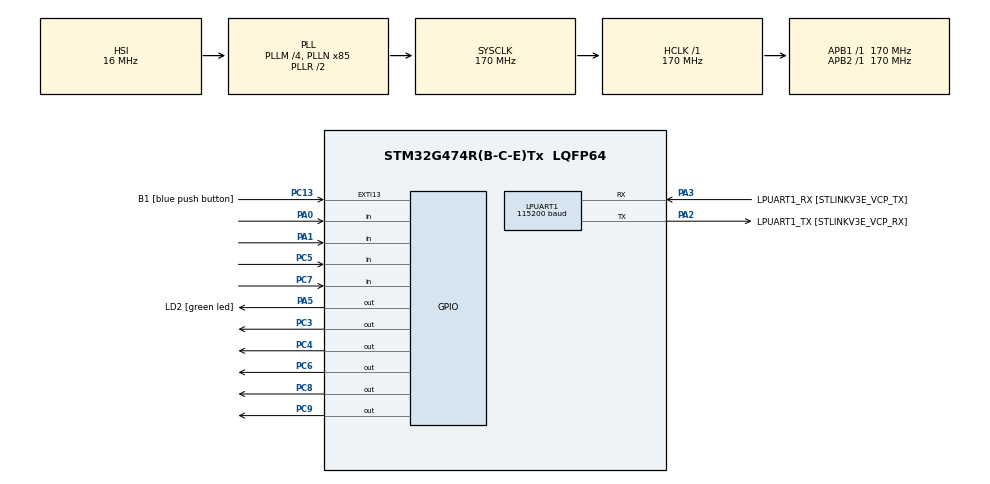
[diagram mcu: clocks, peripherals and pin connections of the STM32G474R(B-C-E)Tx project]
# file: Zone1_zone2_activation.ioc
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LPUART1.BaudRate=115200
LPUART1.WordLength=UART_WORDLENGTH_8B
Mcu.Family=STM32G4
Mcu.Name=STM32G474R(B-C-E)Tx
Mcu.Package=LQFP64
NVIC.EXTI15_10_IRQn=true\:0\:0\:false\:false\:true\:true\:true\:true
NVIC.PriorityGroup=NVIC_PRIORITYGROUP_4
PA0.GPIO_PuPd=GPIO_PULLUP
PA0.Signal=GPIO_Input
PA1.GPIO_PuPd=GPIO_PULLUP
PA1.Signal=GPIO_Input
PA13.GPIO_Label=T_SWDIO
PA13.Mode=Serial_Wire
PA13.Signal=SYS_JTMS-SWDIO
PA14.GPIO_Label=T_SWCLK
PA14.Mode=Serial_Wire
PA14.Signal=SYS_JTCK-SWCLK
PA2.GPIO_Label=LPUART1_TX [STLINKV3E_VCP_RX]
PA2.Mode=Asynchronous
PA2.Signal=LPUART1_TX
PA3.GPIO_Label=LPUART1_RX [STLINKV3E_VCP_TX]
PA3.Mode=Asynchronous
PA3.Signal=LPUART1_RX
PA5.GPIO_Label=LD2 [green led]
PA5.Signal=GPIO_Output
PB3.GPIO_Label=T_SWO
PB3.Signal=SYS_JTDO-SWO
PC13.GPIO_Label=B1 [blue push button]
PC13.Signal=GPXTI13
PC14-OSC32_IN.Mode=LSE-External-Oscillator
PC14-OSC32_IN.Signal=RCC_OSC32_IN
PC15-OSC32_OUT.Mode=LSE-External-Oscillator
PC15-OSC32_OUT.Signal=RCC_OSC32_OUT
PC3.Signal=GPIO_Output
PC4.Signal=GPIO_Output
PC5.GPIO_PuPd=GPIO_PULLDOWN
PC5.Signal=GPIO_Input
PC6.Signal=GPIO_Output
PC7.GPIO_PuPd=GPIO_PULLDOWN
PC7.Signal=GPIO_Input
PC8.Signal=GPIO_Output
PC9.Signal=GPIO_Output
PF0-OSC_IN.Mode=HSE-External-Oscillator
PF0-OSC_IN.Signal=RCC_OSC_IN
PF1-OSC_OUT.Mode=HSE-External-Oscillator
PF1-OSC_OUT.Signal=RCC_OSC_OUT
ProjectManager.HeapSize=0x200
ProjectManager.StackSize=0x400
ProjectManager.TargetToolchain=STM32CubeIDE
RCC.ADC12Freq_Value=170000000
RCC.ADC345Freq_Value=170000000
RCC.AHBFreq_Value=170000000
RCC.APB1Freq_Value=170000000
RCC.APB1TimFreq_Value=170000000
RCC.APB2Freq_Value=170000000
RCC.APB2TimFreq_Value=170000000
RCC.CortexFreq_Value=170000000
RCC.EXTERNAL_CLOCK_VALUE=12288000
RCC.HCLKFreq_Value=170000000
RCC.HSE_VALUE=24000000
RCC.HSI48_VALUE=48000000
RCC.HSI_VALUE=16000000
RCC.PLLM=RCC_PLLM_DIV4
RCC.PLLN=85
RCC.RTCClockSelection=RCC_RTCCLKSOURCE_LSE
RCC.SYSCLKFreq_VALUE=170000000
RCC.SYSCLKSource=RCC_SYSCLKSOURCE_PLLCLK
RCC.USBFreq_Value=170000000
RCC.VCOOutputFreq_Value=340000000
VP_SYS_VS_DBSignals.Mode=DisableDeadBatterySignals
board=NUCLEO-G474RE

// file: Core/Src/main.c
/* USER CODE BEGIN Header */
/**
  ******************************************************************************
  * @file           : main.c
  * @brief          : Main program body
  ******************************************************************************
  * @attention
  *
  * Copyright (c) 2024 STMicroelectronics.
  * All rights reserved.
  *
  * This software is licensed under terms that can be found in the LICENSE file
  * in the root directory of this software component.
  * If no LICENSE file comes with this software, it is provided AS-IS.
  *
  ******************************************************************************
  */
/* USER CODE END Header */
#include "main.h"

/* USER CODE BEGIN PD */

// Pin aliases
#define Zone_one_switch GPIO_PIN_0
#define Zone_one_RED_LED GPIO_PIN_3
#define Zone_one_GREEN_LED GPIO_PIN_6
#define Zone_one_sensor GPIO_PIN_7

#define Zone_two_switch GPIO_PIN_1
#define Zone_two_RED_LED GPIO_PIN_8
#define Zone_two_GREEN_LED GPIO_PIN_9
#define Zone_two_sensor GPIO_PIN_5

#define buzzer GPIO_PIN_4

/* USER CODE END PD */

UART_HandleTypeDef hlpuart1;

void SystemClock_Config(void);
static void MX_GPIO_Init(void);
static void MX_LPUART1_UART_Init(void);

int main(void)
{

  /* MCU Configuration--------------------------------------------------------*/

  /* Reset of all peripherals, Initializes the Flash interface and the Systick. */
  HAL_Init();

  /* Configure the system clock */
  SystemClock_Config();

  /* Initialize all configured peripherals */
  MX_GPIO_Init();
  MX_LPUART1_UART_Init();
  /* USER CODE BEGIN 2 */

  char buff1[100];
  char buff2[100];
  char buff3[100];
  char buff4[100];

  sprintf(buff1,"Zone 1 Input Mode off!\n");
  sprintf(buff2,"Zone 1 Input Mode ON\n");
  sprintf(buff3,"Zone 1 signal detected....\n");
  sprintf(buff4,"No Zone 1 signal detected\n");

  char buff5[100];
  char buff6[100];
  char buff7[100];
  char buff8[100];

  sprintf(buff1,"Zone 2 Input Mode off!\n");
  sprintf(buff2,"Zone 2 Input Mode ON\n");
  sprintf(buff3,"Zone 2 signal detected....\n");
  sprintf(buff4,"No Zone 2 signal detected\n");

  /* USER CODE END 2 */

  /* Infinite loop */
  while (1)
  {

    /* USER CODE BEGIN 3 */
	  if (HAL_GPIO_ReadPin(GPIOA, Zone_one_switch) == GPIO_PIN_RESET) // If PA0 (switch) is low/Zone 1 is pressed
	  	  	  {
	  	  		  HAL_UART_Transmit(&hlpuart1, (uint8_t *)buff2, strlen(buff1), HAL_MAX_DELAY);
	  	  		  HAL_Delay(10);

	  	  		  if(HAL_GPIO_ReadPin(GPIOC, Zone_one_sensor) == GPIO_PIN_SET) //PC7 == 1/Sensor contact enabled
	  	  		  {
	  	  			  HAL_UART_Transmit(&hlpuart1, (uint8_t *)buff3, strlen(buff1), HAL_MAX_DELAY);
	  	  			  HAL_GPIO_WritePin(GPIOC, Zone_one_GREEN_LED, GPIO_PIN_RESET); // Turn off green LED
	  	  			  HAL_GPIO_WritePin(GPIOC, Zone_one_RED_LED, GPIO_PIN_SET); // Turn on red LED
	  	  			  HAL_GPIO_WritePin(GPIOC, buzzer, GPIO_PIN_SET); // Turn On the buzzer
	  	  			  HAL_Delay(100);
	  	  		  }

	  	  		  else //no sensor contact
	  	  		  {
	  	  			  HAL_UART_Transmit(&hlpuart1, (uint8_t *)buff4, strlen(buff1), HAL_MAX_DELAY);
	  	  			  HAL_GPIO_WritePin(GPIOC, Zone_one_GREEN_LED, GPIO_PIN_SET); // Turn on green LED
	  	  			  HAL_GPIO_WritePin(GPIOC, Zone_one_RED_LED, GPIO_PIN_RESET); // Turn off red LED
	  	  			  HAL_GPIO_WritePin(GPIOC, buzzer, GPIO_PIN_RESET); // Turn Off the buzzer
	  	  			  HAL_Delay(100);
	  	  		  }

	  	  	  }

	  	  	  else // If PA0 is high
	  	  	  {
	  	  		  	  HAL_UART_Transmit(&hlpuart1, (uint8_t *)buff1, strlen(buff1), HAL_MAX_DELAY);
	  	  			  HAL_GPIO_WritePin(GPIOC, Zone_one_GREEN_LED, GPIO_PIN_RESET); // Turn off red LED
	  	  			  HAL_GPIO_WritePin(GPIOC, Zone_one_RED_LED, GPIO_PIN_RESET); // Turn off green LED
	  	  			  HAL_GPIO_WritePin(GPIOC, buzzer, GPIO_PIN_RESET); // Turn Off the buzzer
	  	  			  HAL_Delay(100);
	  	  	          }

	  		  HAL_Delay(10); // Adjust delay as needed

	  	  if (HAL_GPIO_ReadPin(GPIOA, Zone_two_switch) == GPIO_PIN_RESET) // If PA1 (switch) is low/zone 2 swtich pressed
	  		  {
	  			  HAL_UART_Transmit(&hlpuart1, (uint8_t *)buff6, strlen(buff1), HAL_MAX_DELAY);
	  			  HAL_Delay(10);

	  			  if(HAL_GPIO_ReadPin(GPIOC, Zone_two_sensor) == GPIO_PIN_SET) //PC7 == 1/Sensor contact enabled
	  			  {
	  				  HAL_UART_Transmit(&hlpuart1, (uint8_t *)buff7, strlen(buff1), HAL_MAX_DELAY);
	  				  HAL_GPIO_WritePin(GPIOC, Zone_two_GREEN_LED, GPIO_PIN_RESET); // Turn off green LED
	  				  HAL_GPIO_WritePin(GPIOC, Zone_two_RED_LED, GPIO_PIN_SET); // Turn on red LED
					  HAL_GPIO_WritePin(GPIOC, buzzer, GPIO_PIN_SET); // Turn On the buzzer
					  HAL_Delay(100);
	  			  }

	  			  else //no contact enabled
	  			  {
	  				  HAL_UART_Transmit(&hlpuart1, (uint8_t *)buff8, strlen(buff1), HAL_MAX_DELAY);
	  				  HAL_GPIO_WritePin(GPIOC, Zone_two_GREEN_LED, GPIO_PIN_SET); // Turn on green LED
	  				  HAL_GPIO_WritePin(GPIOC, Zone_two_RED_LED, GPIO_PIN_RESET); // Turn off red LED
					  HAL_GPIO_WritePin(GPIOC, buzzer, GPIO_PIN_RESET); // Turn Off the buzzer
					  HAL_Delay(100);
	  			  }

	  		  }

	  		  else // If PA1 is high/ zone 2 swtich un pressed
	  		  {
	  				  HAL_UART_Transmit(&hlpuart1, (uint8_t *)buff5, strlen(buff1), HAL_MAX_DELAY);
	  				  HAL_GPIO_WritePin(GPIOC, Zone_two_GREEN_LED, GPIO_PIN_RESET); // Turn off red LED
	  				  HAL_GPIO_WritePin(GPIOC, Zone_two_RED_LED, GPIO_PIN_RESET); // Turn off green LED
	  				  HAL_GPIO_WritePin(GPIOC, buzzer, GPIO_PIN_RESET); // Turn Off the buzzer
	  				  HAL_Delay(100);
	  				  }

	  		  HAL_Delay(10); // Adjust delay as needed
  }
  /* USER CODE END 3 */
}

void SystemClock_Config(void)
{
  RCC_OscInitTypeDef RCC_OscInitStruct = {0};
  RCC_ClkInitTypeDef RCC_ClkInitStruct = {0};

  /** Configure the main internal regulator output voltage
  */
  HAL_PWREx_ControlVoltageScaling(PWR_REGULATOR_VOLTAGE_SCALE1_BOOST);

  /** Initializes the RCC Oscillators according to the specified parameters
  * in the RCC_OscInitTypeDef structure.
  */
  RCC_OscInitStruct.OscillatorType = RCC_OSCILLATORTYPE_HSI;
  RCC_OscInitStruct.HSIState = RCC_HSI_ON;
  RCC_OscInitStruct.HSICalibrationValue = RCC_HSICALIBRATION_DEFAULT;
  RCC_OscInitStruct.PLL.PLLState = RCC_PLL_ON;
  RCC_OscInitStruct.PLL.PLLSource = RCC_PLLSOURCE_HSI;
  RCC_OscInitStruct.PLL.PLLM = RCC_PLLM_DIV4;
  RCC_OscInitStruct.PLL.PLLN = 85;
  RCC_OscInitStruct.PLL.PLLP = RCC_PLLP_DIV2;
  RCC_OscInitStruct.PLL.PLLQ = RCC_PLLQ_DIV2;
  RCC_OscInitStruct.PLL.PLLR = RCC_PLLR_DIV2;
  if (HAL_RCC_OscConfig(&RCC_OscInitStruct) != HAL_OK)
  {
    Error_Handler();
  }

  /** Initializes the CPU, AHB and APB buses clocks
  */
  RCC_ClkInitStruct.ClockType = RCC_CLOCKTYPE_HCLK|RCC_CLOCKTYPE_SYSCLK
                              |RCC_CLOCKTYPE_PCLK1|RCC_CLOCKTYPE_PCLK2;
  RCC_ClkInitStruct.SYSCLKSource = RCC_SYSCLKSOURCE_PLLCLK;
  RCC_ClkInitStruct.AHBCLKDivider = RCC_SYSCLK_DIV1;
  RCC_ClkInitStruct.APB1CLKDivider = RCC_HCLK_DIV1;
  RCC_ClkInitStruct.APB2CLKDivider = RCC_HCLK_DIV1;

  if (HAL_RCC_ClockConfig(&RCC_ClkInitStruct, FLASH_LATENCY_4) != HAL_OK)
  {
    Error_Handler();
  }
}

static void MX_LPUART1_UART_Init(void)
{

  hlpuart1.Instance = LPUART1;
  hlpuart1.Init.BaudRate = 115200;
  hlpuart1.Init.WordLength = UART_WORDLENGTH_8B;
  hlpuart1.Init.StopBits = UART_STOPBITS_1;
  hlpuart1.Init.Parity = UART_PARITY_NONE;
  hlpuart1.Init.Mode = UART_MODE_TX_RX;
  hlpuart1.Init.HwFlowCtl = UART_HWCONTROL_NONE;
  hlpuart1.Init.OneBitSampling = UART_ONE_BIT_SAMPLE_DISABLE;
  hlpuart1.Init.ClockPrescaler = UART_PRESCALER_DIV1;
  hlpuart1.AdvancedInit.AdvFeatureInit = UART_ADVFEATURE_NO_INIT;
  if (HAL_UART_Init(&hlpuart1) != HAL_OK)
  {
    Error_Handler();
  }
  if (HAL_UARTEx_SetTxFifoThreshold(&hlpuart1, UART_TXFIFO_THRESHOLD_1_8) != HAL_OK)
  {
    Error_Handler();
  }
  if (HAL_UARTEx_SetRxFifoThreshold(&hlpuart1, UART_RXFIFO_THRESHOLD_1_8) != HAL_OK)
  {
    Error_Handler();
  }
  if (HAL_UARTEx_DisableFifoMode(&hlpuart1) != HAL_OK)
  {
    Error_Handler();
  }

}

static void MX_GPIO_Init(void)
{
  GPIO_InitTypeDef GPIO_InitStruct = {0};

  /* GPIO Ports Clock Enable */
  __HAL_RCC_GPIOC_CLK_ENABLE();
  __HAL_RCC_GPIOF_CLK_ENABLE();
  __HAL_RCC_GPIOA_CLK_ENABLE();
  __HAL_RCC_GPIOB_CLK_ENABLE();

  /*Configure GPIO pin Output Level */
  HAL_GPIO_WritePin(GPIOC, GPIO_PIN_3|GPIO_PIN_4|GPIO_PIN_6|GPIO_PIN_8
                          |GPIO_PIN_9, GPIO_PIN_RESET);

  /*Configure GPIO pin Output Level */
  HAL_GPIO_WritePin(LD2_GPIO_Port, LD2_Pin, GPIO_PIN_RESET);

  /*Configure GPIO pin : B1_Pin */
  GPIO_InitStruct.Pin = B1_Pin;
  GPIO_InitStruct.Mode = GPIO_MODE_IT_RISING;
  GPIO_InitStruct.Pull = GPIO_NOPULL;
  HAL_GPIO_Init(B1_GPIO_Port, &GPIO_InitStruct);

  /*Configure GPIO pins : PC3 PC4 PC6 PC8
                           PC9 */
  GPIO_InitStruct.Pin = GPIO_PIN_3|GPIO_PIN_4|GPIO_PIN_6|GPIO_PIN_8
                          |GPIO_PIN_9;
  GPIO_InitStruct.Mode = GPIO_MODE_OUTPUT_PP;
  GPIO_InitStruct.Pull = GPIO_NOPULL;
  GPIO_InitStruct.Speed = GPIO_SPEED_FREQ_LOW;
  HAL_GPIO_Init(GPIOC, &GPIO_InitStruct);

  /*Configure GPIO pins : PA0 PA1 */
  GPIO_InitStruct.Pin = GPIO_PIN_0|GPIO_PIN_1;
  GPIO_InitStruct.Mode = GPIO_MODE_INPUT;
  GPIO_InitStruct.Pull = GPIO_PULLUP;
  HAL_GPIO_Init(GPIOA, &GPIO_InitStruct);

  /*Configure GPIO pin : LD2_Pin */
  GPIO_InitStruct.Pin = LD2_Pin;
  GPIO_InitStruct.Mode = GPIO_MODE_OUTPUT_PP;
  GPIO_InitStruct.Pull = GPIO_NOPULL;
  GPIO_InitStruct.Speed = GPIO_SPEED_FREQ_LOW;
  HAL_GPIO_Init(LD2_GPIO_Port, &GPIO_InitStruct);

  /*Configure GPIO pins : PC5 PC7 */
  GPIO_InitStruct.Pin = GPIO_PIN_5|GPIO_PIN_7;
  GPIO_InitStruct.Mode = GPIO_MODE_INPUT;
  GPIO_InitStruct.Pull = GPIO_PULLDOWN;
  HAL_GPIO_Init(GPIOC, &GPIO_InitStruct);

  /* EXTI interrupt init*/
  HAL_NVIC_SetPriority(EXTI15_10_IRQn, 0, 0);
  HAL_NVIC_EnableIRQ(EXTI15_10_IRQn);

}

void Error_Handler(void)
{
  __disable_irq();
  while (1)
  {
  }
}
